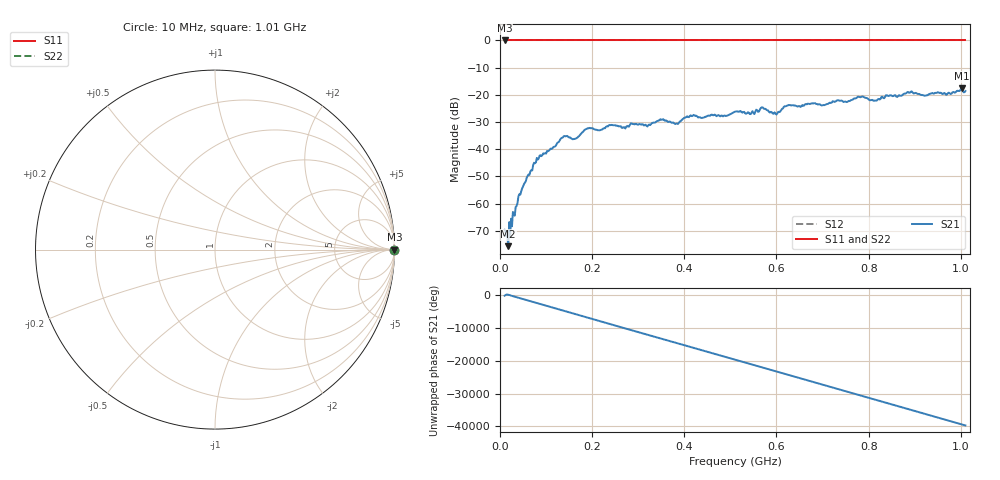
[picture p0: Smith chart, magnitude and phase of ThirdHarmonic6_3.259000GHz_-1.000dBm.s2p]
! 8/17/2025 10:03:12 AM
! C:\ANRITSUVNA\TEMP\TEMP.S2P
! CHANNEL.1
! TR.MEASUREMENT
! RAW.DATA
! RF.CORRECTION.OFF
! AVERAGING.OFF
! IF.BANDWIDTH: 5KHZ
! SWEEPTYPE:  FREQ.SWEEP(Linear)
! Reference Plane Port Info
! PORT:  PORT1  PORT2
! DISTANCE:  0  m  0  m
! TIME:  0  s  0  s
! PHASE.OFFSET:  0  deg.  0  deg.
! LOSS:  0  dB  0  dB
! REF.LOSS:  0  dB  0  dB
! REF.FREQ:  0  Hz  0  Hz
! Power Info
! POWER:  -20  dBm  -20  dBm
! EFF.POWER:  -20  dBm  -20  dBm
! SOURCE.ATTEN:  0  dB  0  dB
! TEST.ATTEN:  0  dB  0  dB
# GHZ S RI R 50.0
! FREQ.GHZ  S11RE  S11IM  S21RE  S21IM  S12RE  S12IM  S22RE  S22IM
!; PortSelection: Port_12
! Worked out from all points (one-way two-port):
!   501 points, 10 MHz to 1.01 GHz, reference 50 ohm
!   highest |S21| = -17.53 dB at 1.002 GHz (marker M1); lowest = -75.6 dB at 18 MHz (marker M2)
!   lowest |S11| = 0.0 dB at 10 MHz (marker M3)
!   |S11| at or under -10 dB: nowhere
!   |S22| runs from 0.0 to 0.0 dB; largest |S21 - S12| = 1.1
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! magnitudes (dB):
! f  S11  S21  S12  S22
! 10 MHz  0.0  -69.6  0.0  0.0
! 18 MHz  0.0  -75.6  0.0  0.0
! 44 MHz  0.0  -56.7  0.0  0.0
! 76 MHz  0.0  -45.1  0.0  0.0
! 136 MHz  0.0  -35.7  0.0  0.0
! 162 MHz  0.0  -36.2  0.0  0.0
! 178 MHz  0.0  -33.9  0.0  0.0
! 194 MHz  0.0  -32.1  0.0  0.0
! 344 MHz  0.0  -29.5  0.0  0.0
! 384 MHz  0.0  -30.5  0.0  0.0
! 416 MHz  0.0  -27.8  0.0  0.0
! 510 MHz  0.0  -26.2  0.0  0.0
! 548 MHz  0.0  -26.0  0.0  0.0
! 570 MHz  0.0  -24.6  0.0  0.0
! 598 MHz  0.0  -26.9  0.0  0.0
! 622 MHz  0.0  -24.0  0.0  0.0
! 678 MHz  0.0  -23.1  0.0  0.0
! 782 MHz  0.0  -20.9  0.0  0.0
! 814 MHz  0.0  -22.1  0.0  0.0
! 844 MHz  0.0  -20.4  0.0  0.0
! 1.002 GHz  0.0  -17.5  0.0  0.0
! 1.01 GHz  0.0  -18.6  0.0  0.0
